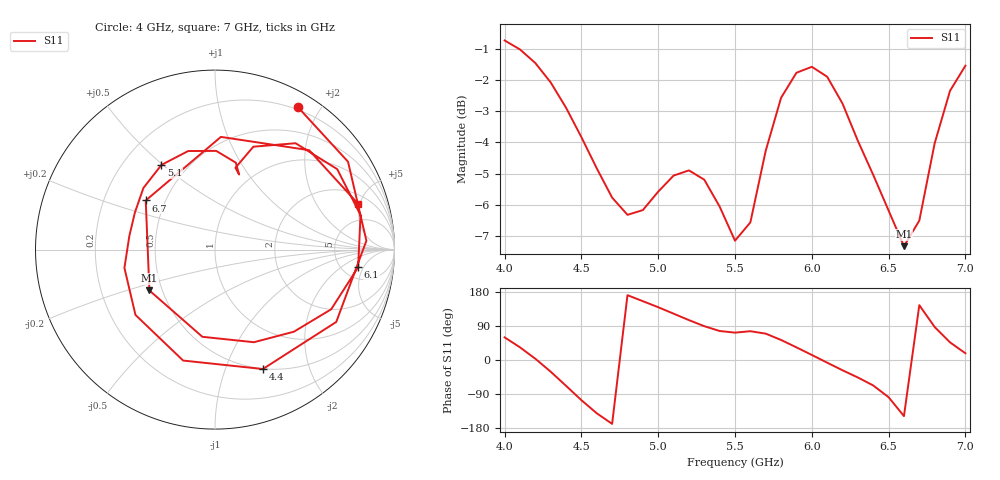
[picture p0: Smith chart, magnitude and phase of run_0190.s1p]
! Touchstone file exported from HFSS 2024.2.0
!  File:  C:/Users/wsak9/Desktop/Sim Fast/Widenad Patch/WP_AI_V1_sweep.aedt
!  Generated:  10:52:29 PM Oct 13, 2026
!  Design:  A1_model
!  Project:  WP_AI_V1_sweep
!  Setup:  Setup1
!  Solution:  Sweep
! Variables:
!  Air_gap = 3.12mm
!  Curve_Amp1 = 3.06
!  Curve_len1 = 1
!  Curve_pos = 11.34mm
!  Extra = 0.55mm
!  H_sub = 0.79mm
!  L_Patch = 18.68mm
!  L_Patch1 = 15.12mm
!  Sx = 2.51mm
!  Sy = 0.58mm
!  WS = 1.22mm
!  W_Patch = 15.97mm
!  W_Patch1 = 14.57mm
!Data is not renormalized
# GHz S MA
! Terminal data exported
! Port[1] = 1
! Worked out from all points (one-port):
!   31 points, 4 GHz to 7 GHz, reference per port
!   lowest |S11| = -7.3 dB at 6.6 GHz (marker M1), VSWR 2.51
!   |S11| at or under -10 dB: nowhere
!   S11 on the Smith chart (normalised r, x): 4 GHz: 0.17, +1.73; 4.4 GHz: 0.50, -1.36; 5.1 GHz: 0.36, +0.49; 6.1 GHz: 6.99, -3.88; 6.7 GHz: 0.39, +0.27; 7 GHz: 2.81, +4.79
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4  0.9181 59.8
4.1  0.8883 33.4
4.2  0.845 3.4
4.3  0.7867 -30.8
4.4  0.7168 -68.2
4.5  0.6432 -106.0
4.6  0.5734 -140.6
4.7  0.5149 -168.6
4.8  0.4833 171.1
5.1  0.5583 122.3
5.2  0.5692 105.2
5.4  0.4982 76.5
5.5  0.4394 72.2
5.6  0.47 76.0
5.7  0.6118 69.6
5.8  0.7435 52.9
5.9  0.8152 33.4
6  0.8333 13.3
6.1  0.8034 -7.0
6.2  0.7278 -27.2
6.3  0.6344 -46.1
6.4  0.5597 -67.2
6.5  0.4909 -98.2
6.6  0.4306 -148.1
6.7  0.4731 144.7
6.8  0.6288 87.0
6.9  0.7628 46.6
7  0.8365 17.8
